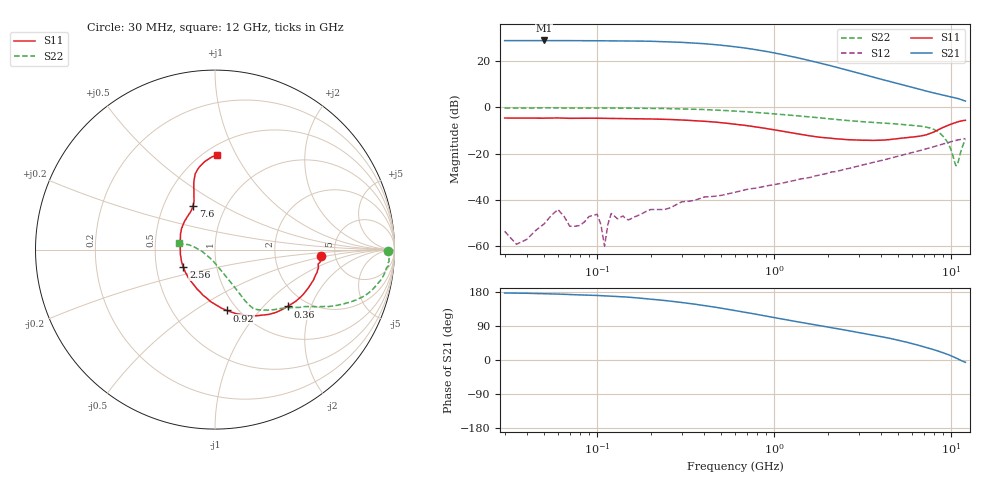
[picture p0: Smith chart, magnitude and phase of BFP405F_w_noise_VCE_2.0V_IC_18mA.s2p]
! Infineon Technologies  Discrete & RF Semiconductors
! BFP405F
! VCE =  2.0 V,  IC =  18 mA
! Common Emitter S-Parameters:  Nov 2015
# GHz  S  MA  R  50
!  f  S11  S21  S12  S22
! GHz  MAG  ANG  MAG  ANG  MAG  ANG  MAG  ANG
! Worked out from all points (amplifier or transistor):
!   239 points, 30 MHz to 12 GHz, reference 50 ohm
!   highest |S21| = 28.9 dB at 50 MHz (marker M1)
!   |S21| within 3 dB of that: start of sweep to 642.4 MHz
!   unconditionally stable (mu >= 1): 31.41 MHz to 36.42 MHz; 1.678 GHz to end of sweep
!   at 300 MHz: K = 0.31, MSG = 34.5 dB, |S12| = -40.8 dB
!   at 1.88 GHz: K = 1.07, MAG = 22.4 dB, |S12| = -29.0 dB
!   at 12 GHz: K = 1.39, MAG = 4.4 dB, |S12| = -13.5 dB
!   lowest NFmin = 2.14 dB at 450 MHz
!   S11 on the Smith chart (normalised r, x): 30 MHz: 3.82, -0.42; 360 MHz: 1.62, -1.39; 920 MHz: 0.89, -0.69; 2.56 GHz: 0.69, -0.14; 7.6 GHz: 0.70, +0.37; 12 GHz: 0.58, +0.84
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0.03  0.5894 -3.5  27.73 176.8  0.0021 -14.7  0.9662 -0.6
0.035  0.5877 -3.9  27.76 176.4  0.0011 23.3  0.9671 -0.7
0.05  0.5849 -5.4  27.97 174.8  0.003 111.1  0.9778 -1.3
0.06  0.5914 -6.6  27.76 174.0  0.0062 111.5  0.9711 -1.5
0.085  0.5843 -9.7  27.64 171.5  0.0034 93.1  0.971 -3.1
0.1  0.5826 -11.2  27.51 170.3  0.0049 102.7  0.9722 -3.9
0.11  0.5831 -12.4  27.48 169.3  0.001 100.9  0.97 -4.1
0.12  0.5793 -13.6  27.43 168.5  0.0051 83.8  0.9655 -4.5
0.15  0.5745 -17.0  27.32 165.8  0.0037 105.0  0.9619 -5.9
0.24  0.5525 -26.4  26.26 157.1  0.0062 76.7  0.945 -9.6
0.36  0.514 -38.0  24.45 147.0  0.01 75.3  0.9101 -13.7
0.46  0.4827 -47.0  22.81 139.5  0.012 74.6  0.8781 -16.7
0.6  0.4337 -58.3  20.46 130.5  0.0146 73.5  0.8321 -19.8
0.7  0.4036 -65.2  18.96 125.1  0.0169 72.0  0.8025 -21.5
0.92  0.3453 -79.0  15.97 115.0  0.0203 70.4  0.7438 -24.7
1.28  0.2772 -98.7  12.39 102.8  0.026 69.3  0.6696 -28.3
1.64  0.2387 -115.7  9.96 94.1  0.0316 69.5  0.6152 -31.1
2.56  0.2013 -151.0  6.454 78.3  0.0468 68.3  0.523 -38.3
4.5  0.202 163.3  3.614 57.1  0.0797 61.9  0.4497 -48.6
7.6  0.2735 116.5  2.141 30.1  0.1343 48.9  0.3576 -58.5
10.6  0.4712 100.3  1.598 5.5  0.1938 31.7  0.0548 -119.8
12  0.526 88.8  1.368 -6.0  0.2121 23.5  0.2009 170.2
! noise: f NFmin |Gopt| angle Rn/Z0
0.45  2.14  0.04  -3  0.51
0.9  2.16  0.03  -6  0.3
1.5  2.2  0.02  -39  0.2
1.9  2.26  0.02  -85  0.26
2.4  2.41  0.02  -104  0.39
3  2.5  0.04  -109  0.06
3.5  2.58  0.06  -113  0.22
4.5  2.8  0.12  -102  0.4
5.5  3.09  0.21  -88  0.41
